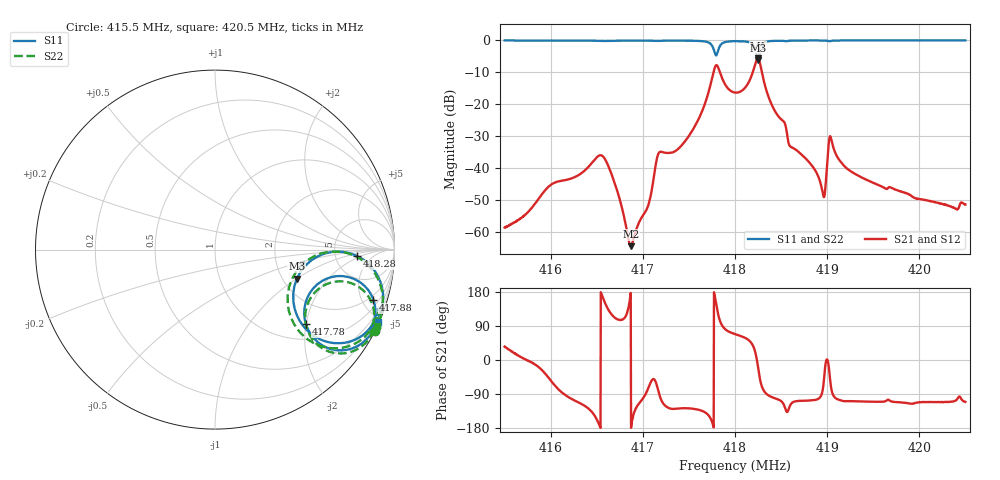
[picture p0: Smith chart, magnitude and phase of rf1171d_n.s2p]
!HP8753
# HZ S RI R 50
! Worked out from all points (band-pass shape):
!   1601 points, 415.5 MHz to 420.5 MHz, reference 50 ohm
!   highest |S21| = -5.60 dB at 418.25 MHz (marker M1); lowest = -64.6 dB at 416.87 MHz (marker M2)
!   |S21| within 3 dB of the highest: 417.7805 MHz to 417.8185 MHz (37.93 kHz wide, 0.00908 % of centre); 418.2079 MHz to 418.2813 MHz (73.41 kHz wide, 0.0176 % of centre)
!   lowest |S11| = -6.3 dB at 418.25 MHz (marker M3), VSWR 2.88, Z = 119 - j50.4 ohm
!   |S11| at or under -10 dB: nowhere
!   |S22| runs from -6.8 to 0.0 dB; largest |S21 - S12| = 0.0058
!   S11 on the Smith chart (normalised r, x): 415.5 MHz: 0.07, -4.38; 417.78 MHz: 1.38, -1.99; 417.88 MHz: 1.56, -6.08; 418.28 MHz: 8.33, -1.62; 420.5 MHz: 0.07, -4.70
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4.155e8  0.8952 -0.4307  0.000945 0.000667  0.000923 0.000677  0.8897 -0.4518
4.160031e8  0.8892 -0.4315  0.00314 -0.00444  0.00318 -0.00434  0.8849 -0.4535
4.163344e8  0.8887 -0.4382  -0.00364 -0.0074  -0.00348 -0.00743  0.8831 -0.4599
4.165812e8  0.8765 -0.43  -0.013 0.00594  -0.0129 0.00566  0.8729 -0.4492
4.168719e8  0.8862 -0.4397  -0.000591 -1.08e-05  -0.000587 -1.79e-05  0.8814 -0.4612
4.170625e8  0.8789 -0.4495  0.000839 -0.00255  0.000887 -0.0025  0.8751 -0.4706
4.171687e8  0.8737 -0.4413  0.00218 -0.0165  0.00241 -0.0164  0.869 -0.4661
4.175125e8  0.8582 -0.4847  -0.0207 -0.0267  -0.0199 -0.0268  0.8527 -0.5056
4.177781e8  0.5056 -0.4132  -0.3591 0.0523  -0.3597 0.0498  0.5099 -0.432
4.178219e8  0.7159 -0.1483  -0.1567 0.3253  -0.1574 0.3209  0.7197 -0.1779
4.178812e8  0.8826 -0.2795  0.022 0.2171  0.0185 0.215  0.8784 -0.3097
4.18e8  0.8846 -0.3979  0.0559 0.1409  0.053 0.1406  0.8767 -0.4245
4.181938e8  0.6839 -0.5219  0.2499 0.1977  0.2466 0.201  0.6642 -0.55
4.1825e8  0.4559 -0.1627  0.4969 -0.1694  0.4945 -0.1675  0.4276 -0.1665
4.182844e8  0.7919 -0.0361  0.1533 -0.3189  0.1533 -0.3134  0.7861 -0.0387
4.185969e8  0.9266 -0.336  -0.0111 -0.0188  -0.0106 -0.0188  0.923 -0.3565
4.188344e8  0.9205 -0.373  -0.0031 -0.0104  -0.00288 -0.0103  0.9162 -0.3941
4.189625e8  0.9138 -0.3848  0.00179 -0.00299  0.00187 -0.00292  0.9092 -0.4062
4.190406e8  0.9061 -0.3629  0.0106 -0.0277  0.0107 -0.0272  0.9011 -0.3817
4.192188e8  0.9159 -0.3852  -0.00308 -0.00914  -0.00287 -0.0091  0.9117 -0.4064
4.196687e8  0.9117 -0.3956  -0.00134 -0.00478  -0.00125 -0.00476  0.9067 -0.4177
4.205e8  0.9083 -0.4044  -0.000924 -0.00248  -0.000871 -0.00246  0.9031 -0.4265
